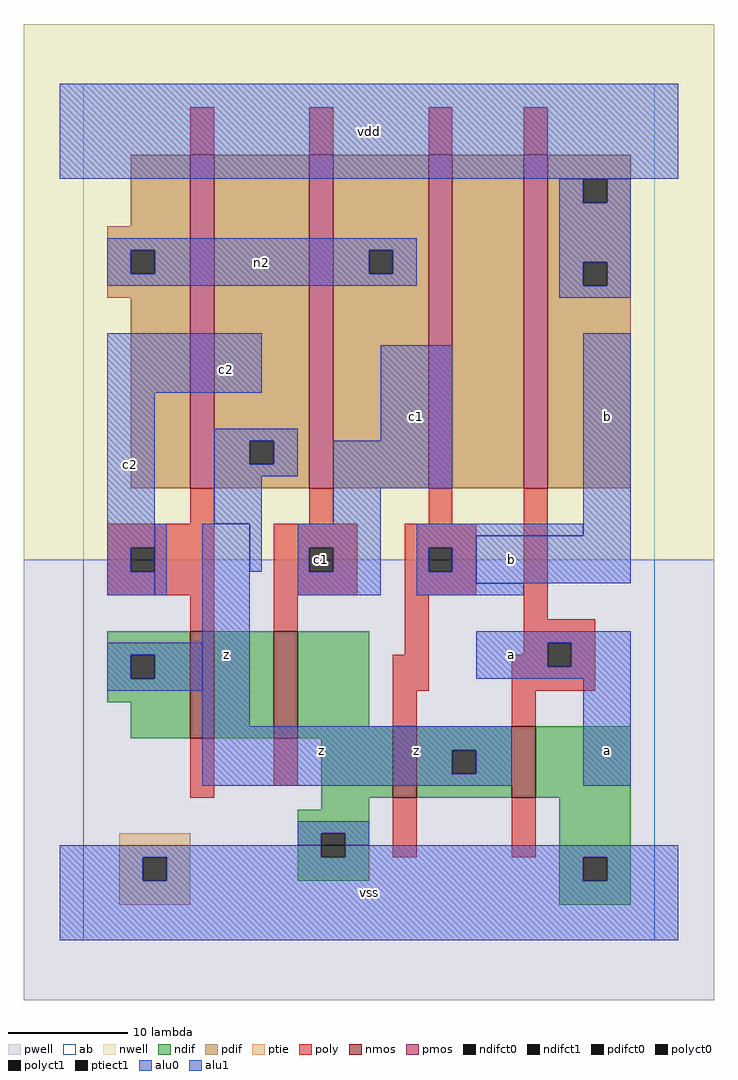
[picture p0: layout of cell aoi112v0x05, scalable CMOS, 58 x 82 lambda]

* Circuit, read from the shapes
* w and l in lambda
.subckt aoi112v0x05 a b c1 c2 n2 vdd vss z
M1 n1 c2 z vss nfet w=9 l=2
M2 vss c1 n1 vss nfet w=9 l=2
M3 z b vss vss nfet w=6 l=2
M4 vss a z vss nfet w=6 l=2
M5 z c2 n2 n3 pfet w=28 l=2
M6 n2 c1 z n3 pfet w=28 l=2
M7 n4 b n2 n3 pfet w=28 l=2
M8 vdd a n4 n3 pfet w=28 l=2
.ends

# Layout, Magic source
magic
tech scmos
<< ab >>
rect 0 0 48 72
<< nwell >>
rect -5 32 53 77
<< pwell >>
rect -5 -5 53 32
<< poly >>
rect 9 66 11 70
rect 19 66 21 70
rect 29 66 31 70
rect 37 66 39 70
rect 9 35 11 38
rect 19 35 21 38
rect 29 35 31 38
rect 2 33 11 35
rect 2 31 4 33
rect 6 31 11 33
rect 2 29 11 31
rect 9 26 11 29
rect 16 33 23 35
rect 16 31 19 33
rect 21 31 23 33
rect 16 29 23 31
rect 27 33 33 35
rect 27 31 29 33
rect 31 31 33 33
rect 27 29 33 31
rect 16 26 18 29
rect 27 24 29 29
rect 37 27 39 38
rect 37 25 43 27
rect 37 24 39 25
rect 26 21 29 24
rect 36 23 39 24
rect 41 23 43 25
rect 36 21 43 23
rect 26 18 28 21
rect 36 18 38 21
rect 9 12 11 17
rect 16 13 18 17
rect 26 7 28 12
rect 36 7 38 12
<< ndif >>
rect 2 24 9 26
rect 2 22 4 24
rect 6 22 9 24
rect 2 20 9 22
rect 4 17 9 20
rect 11 17 16 26
rect 18 18 24 26
rect 18 17 26 18
rect 20 12 26 17
rect 28 16 36 18
rect 28 14 31 16
rect 33 14 36 16
rect 28 12 36 14
rect 38 12 46 18
rect 20 11 24 12
rect 18 9 24 11
rect 18 7 20 9
rect 22 7 24 9
rect 40 7 46 12
rect 18 5 24 7
rect 40 5 42 7
rect 44 5 46 7
rect 40 3 46 5
<< pdif >>
rect 4 60 9 66
rect 2 58 9 60
rect 2 56 4 58
rect 6 56 9 58
rect 2 54 9 56
rect 4 38 9 54
rect 11 42 19 66
rect 11 40 14 42
rect 16 40 19 42
rect 11 38 19 40
rect 21 58 29 66
rect 21 56 24 58
rect 26 56 29 58
rect 21 38 29 56
rect 31 38 37 66
rect 39 64 46 66
rect 39 62 42 64
rect 44 62 46 64
rect 39 57 46 62
rect 39 55 42 57
rect 44 55 46 57
rect 39 38 46 55
<< alu1 >>
rect -2 64 50 72
rect 2 46 15 51
rect 2 33 6 46
rect 25 42 31 50
rect 21 38 31 42
rect 21 35 25 38
rect 2 31 4 33
rect 2 29 6 31
rect 10 18 14 35
rect 18 33 25 35
rect 18 31 19 33
rect 21 31 25 33
rect 18 29 25 31
rect 42 34 46 51
rect 33 30 46 34
rect 33 25 46 26
rect 33 23 39 25
rect 41 23 46 25
rect 33 22 46 23
rect 10 16 36 18
rect 10 14 31 16
rect 33 14 36 16
rect 10 13 36 14
rect 42 13 46 22
rect -2 7 20 8
rect 22 7 50 8
rect -2 5 5 7
rect 7 5 42 7
rect 44 5 50 7
rect -2 0 50 5
<< ptie >>
rect 3 7 9 9
rect 3 5 5 7
rect 7 5 9 7
rect 3 3 9 5
<< nmos >>
rect 9 17 11 26
rect 16 17 18 26
rect 26 12 28 18
rect 36 12 38 18
<< pmos >>
rect 9 38 11 66
rect 19 38 21 66
rect 29 38 31 66
rect 37 38 39 66
<< polyct0 >>
rect 29 31 31 33
<< polyct1 >>
rect 4 31 6 33
rect 19 31 21 33
rect 39 23 41 25
<< ndifct0 >>
rect 4 22 6 24
rect 20 8 22 9
<< ndifct1 >>
rect 31 14 33 16
rect 20 7 22 8
rect 42 5 44 7
<< ptiect1 >>
rect 5 5 7 7
<< pdifct0 >>
rect 4 56 6 58
rect 14 40 16 42
rect 24 56 26 58
rect 42 62 44 64
rect 42 55 44 57
<< alu0 >>
rect 40 62 42 64
rect 44 62 46 64
rect 2 58 28 59
rect 2 56 4 58
rect 6 56 24 58
rect 26 56 28 58
rect 2 55 28 56
rect 40 57 46 62
rect 40 55 42 57
rect 44 55 46 57
rect 40 54 46 55
rect 11 42 18 43
rect 11 40 14 42
rect 16 40 18 42
rect 11 39 18 40
rect 11 35 15 39
rect 6 29 7 35
rect 2 24 10 25
rect 2 22 4 24
rect 6 22 10 24
rect 2 21 10 22
rect 14 31 15 35
rect 28 34 42 35
rect 28 33 33 34
rect 28 31 29 33
rect 31 31 33 33
rect 28 30 33 31
rect 28 29 37 30
rect 18 9 24 10
rect 18 8 20 9
rect 22 8 24 9
<< labels >>
rlabel alu0 15 57 15 57 6 n2
rlabel alu1 4 40 4 40 6 c2
rlabel alu1 20 16 20 16 6 z
rlabel alu1 12 24 12 24 6 z
rlabel polyct1 20 32 20 32 6 c1
rlabel alu1 12 48 12 48 6 c2
rlabel alu1 24 4 24 4 6 vss
rlabel alu1 28 16 28 16 6 z
rlabel alu1 28 44 28 44 6 c1
rlabel alu1 24 68 24 68 6 vdd
rlabel alu1 44 16 44 16 6 a
rlabel alu1 36 32 36 32 6 b
rlabel alu1 36 24 36 24 6 a
rlabel alu1 44 44 44 44 6 b
<< end >>
